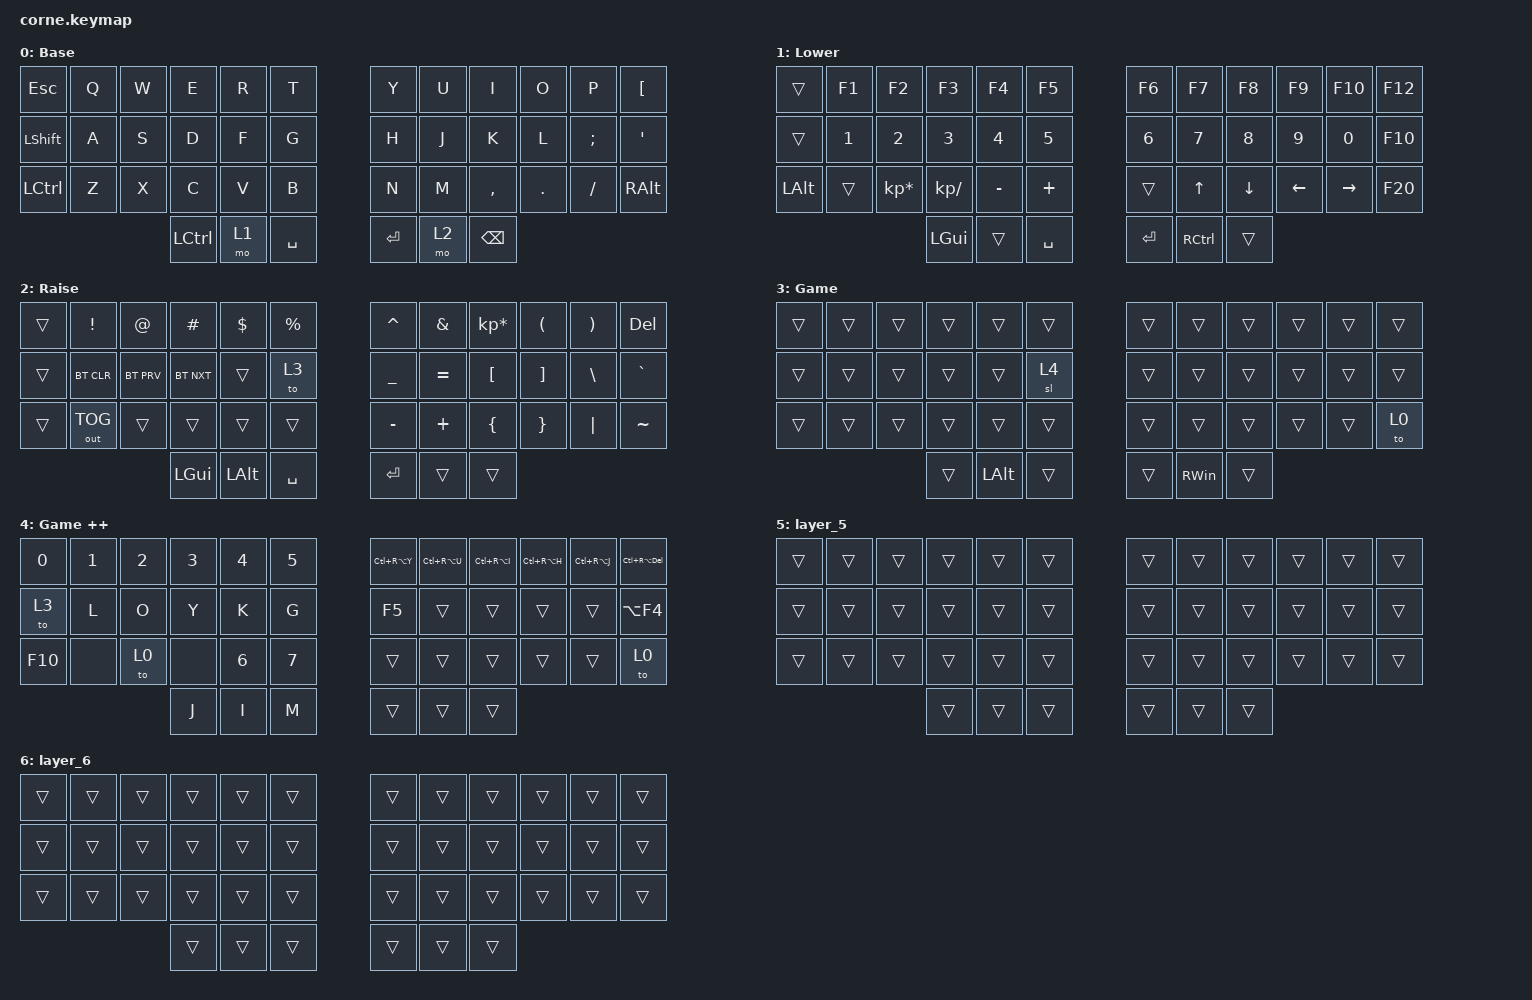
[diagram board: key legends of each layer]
/*
 * Copyright (c) 2020 The ZMK Contributors
 *
 * SPDX-License-Identifier: MIT
 */

#include <behaviors.dtsi>
#include <dt-bindings/zmk/bt.h>
#include <dt-bindings/zmk/keys.h>
#include <dt-bindings/zmk/outputs.h>

/ {
    keymap {
        compatible = "zmk,keymap";

        Base {
            // -----------------------------------------------------------------------------------------
            // |  TAB |  Q  |  W  |  E  |  R  |  T  |   |  Y  |  U   |  I  |  O  |  P  | BKSP |
            // | CTRL |  A  |  S  |  D  |  F  |  G  |   |  H  |  J   |  K  |  L  |  ;  |  '   |
            // | SHFT |  Z  |  X  |  C  |  V  |  B  |   |  N  |  M   |  ,  |  .  |  /  | ESC  |
            //                    | GUI | LWR | SPC |   | ENT | RSE  | ALT |

            label = "Base";
            bindings = <
&kp ESCAPE        &kp Q  &kp W  &kp E      &kp R  &kp T        &kp Y    &kp U  &kp I          &kp O    &kp P     &kp LEFT_BRACKET
&kp LEFT_SHIFT    &kp A  &kp S  &kp D      &kp F  &kp G        &kp H    &kp J  &kp K          &kp L    &kp SEMI  &kp APOS
&kp LEFT_CONTROL  &kp Z  &kp X  &kp C      &kp V  &kp B        &kp N    &kp M  &kp COMMA      &kp DOT  &kp FSLH  &kp RIGHT_ALT
                                &kp LCTRL  &mo 1  &kp SPACE    &kp RET  &mo 2  &kp BACKSPACE
            >;
        };

        Lower {
            // -----------------------------------------------------------------------------------------
            // |  TAB |  1  |  2  |  3  |  4  |  5  |   |  6  |  7  |  8  |  9  |  0  | BKSP |
            // | BTCLR| BT1 | BT2 | BT3 | BT4 | BT5 |   | LFT | DWN |  UP | RGT |     |      |
            // | SHFT |     |     |     |     |     |   |     |     |     |     |     |      |
            //                    | GUI |     | SPC |   | ENT |     | ALT |

            label = "Lower";
            bindings = <
&trans        &kp F1        &kp F2           &kp F3         &kp F4        &kp F5          &kp F6        &kp F7        &kp F8          &kp F9          &kp F10          &kp F12
&trans        &kp NUMBER_1  &kp NUMBER_2     &kp NUMBER_3   &kp NUMBER_4  &kp NUMBER_5    &kp NUMBER_6  &kp NUMBER_7  &kp NUMBER_8    &kp NUMBER_9    &kp NUMBER_0     &kp F10
&kp LEFT_ALT  &trans        &kp KP_MULTIPLY  &kp KP_DIVIDE  &kp MINUS     &kp PLUS        &trans        &kp UP_ARROW  &kp DOWN_ARROW  &kp LEFT_ARROW  &kp RIGHT_ARROW  &kp F20
                                             &kp LGUI       &trans        &kp SPACE       &kp RET       &kp RCTRL     &trans
            >;
        };

        Raise {
            // -----------------------------------------------------------------------------------------
            // |  TAB |  !  |  @  |  #  |  $  |  %  |   |  ^  |  &  |  *  |  (  |  )  | BKSP |
            // | CTRL |     |     |     |     |     |   |  -  |  =  |  [  |  ]  |  \  |  `   |
            // | SHFT |     |     |     |     |     |   |  _  |  +  |  {  |  }  | "|" |  ~   |
            //                    | GUI |     | SPC |   | ENT |     | ALT |

            label = "Raise";
            bindings = <
&trans  &kp EXCL      &kp AT      &kp HASH    &kp DLLR      &kp PRCNT    &kp CARET  &kp AMPS   &kp KP_MULTIPLY  &kp LPAR  &kp RPAR  &kp DEL
&trans  &bt BT_CLR    &bt BT_PRV  &bt BT_NXT  &trans        &to 3        &kp UNDER  &kp EQUAL  &kp LBKT         &kp RBKT  &kp BSLH  &kp GRAVE
&trans  &out OUT_TOG  &trans      &trans      &trans        &trans       &kp MINUS  &kp PLUS   &kp LBRC         &kp RBRC  &kp PIPE  &kp TILDE
                                  &kp LGUI    &kp LEFT_ALT  &kp SPACE    &kp RET    &trans     &trans
            >;
        };

        Game {
            label = "Game";
            bindings = <
&trans  &trans  &trans  &trans  &trans        &trans    &trans  &trans         &trans  &trans  &trans  &trans
&trans  &trans  &trans  &trans  &trans        &sl 4     &trans  &trans         &trans  &trans  &trans  &trans
&trans  &trans  &trans  &trans  &trans        &trans    &trans  &trans         &trans  &trans  &trans  &to 0
                        &trans  &kp LEFT_ALT  &trans    &trans  &kp RIGHT_WIN  &trans
            >;
        };

        Game_++ {
            label = "Game ++";
            bindings = <
&kp N0   &kp NUMBER_1  &kp NUMBER_2  &kp NUMBER_3  &kp NUMBER_4  &kp NUMBER_5    &kp LC(RA(Y))  &kp LC(RA(U))  &kp LC(RA(I))  &kp LC(RA(H))  &kp LC(RA(J))  &kp LC(RA(DEL))
&to 3    &kp L         &kp O         &kp Y         &kp K         &kp G           &kp F5         &trans         &trans         &trans         &trans         &kp LA(F4)
&kp F10  &none         &to 0         &none         &kp NUMBER_6  &kp NUMBER_7    &trans         &trans         &trans         &trans         &trans         &to 0
                                     &kp J         &kp I         &kp M           &trans         &trans         &trans
            >;
        };

        layer_5 {
            bindings = <
&trans  &trans  &trans  &trans  &trans  &trans    &trans  &trans  &trans  &trans  &trans  &trans
&trans  &trans  &trans  &trans  &trans  &trans    &trans  &trans  &trans  &trans  &trans  &trans
&trans  &trans  &trans  &trans  &trans  &trans    &trans  &trans  &trans  &trans  &trans  &trans
                        &trans  &trans  &trans    &trans  &trans  &trans
            >;
        };

        layer_6 {
            bindings = <
&trans  &trans  &trans  &trans  &trans  &trans    &trans  &trans  &trans  &trans  &trans  &trans
&trans  &trans  &trans  &trans  &trans  &trans    &trans  &trans  &trans  &trans  &trans  &trans
&trans  &trans  &trans  &trans  &trans  &trans    &trans  &trans  &trans  &trans  &trans  &trans
                        &trans  &trans  &trans    &trans  &trans  &trans
            >;
        };
    };
};

&nice_view_spi { cs-gpios = <&pro_micro 0 GPIO_ACTIVE_HIGH>; };
